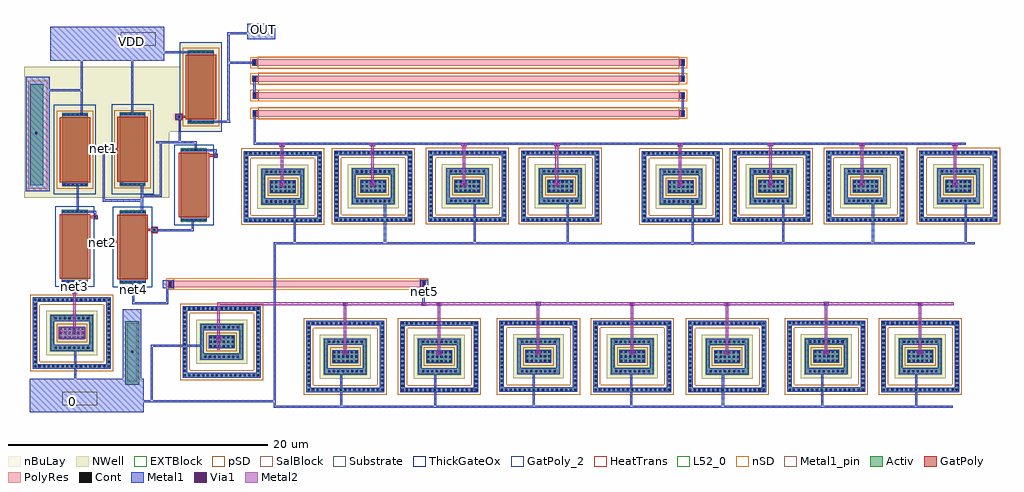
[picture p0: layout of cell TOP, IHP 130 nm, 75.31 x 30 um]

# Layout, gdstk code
from math import pi, radians
import gdstk
lib = gdstk.Library(unit=1e-6, precision=1e-09)
def R(c, l, rs):  # rectangles x0, y0, x1, y1
    for r in rs: c.add(gdstk.rectangle(r[:2], r[2:], *l))
def A(c, l, x, y, w, h, nx, ny, dx, dy):  # array of equal rectangles
    R(c, l, [(x+i*dx, y+j*dy, x+i*dx+w, y+j*dy+h) for i in range(nx) for j in range(ny)])
def P(c, l, *ps):  # polygons
    for p in ps: c.add(gdstk.Polygon(p, *l))
Activ = (1, 0)
GatPoly = (5, 0)
GatPoly_2 = (5, 2)
Cont = (6, 0)
nSD = (7, 0)
Metal1 = (8, 0)
Metal1_pin = (8, 2)
Metal2 = (10, 0)
pSD = (14, 0)
Via1 = (19, 0)
SalBlock = (28, 0)
NWell = (31, 0)
nBuLay = (32, 0)
Substrate = (40, 0)
ThickGateOx = (44, 0)
HeatTrans = (51, 0)
L52_0 = (52, 0)
EXTBlock = (111, 0)
PolyRes = (128, 0)

nmoshv_1 = lib.new_cell('nmosHV$1')
R(nmoshv_1, Activ, [(0,0,0.3,0.3), (0,0,5.68,2), (5.38,0,5.68,0.3)])
R(nmoshv_1, GatPoly, [(0.34,-0.18,5.34,2.18)])
R(nmoshv_1, GatPoly_2, [(0.34,-0.18,5.34,2.18)])
A(nmoshv_1, Cont, 0.07, 0.07, 0.16, 0.16, 1, 6, 0, 0.34)
A(nmoshv_1, Cont, 5.45, 0.07, 0.16, 0.16, 1, 6, 0, 0.34)
R(nmoshv_1, Metal1, [(0.07,0,0.23,2), (5.45,0,5.61,2)])
R(nmoshv_1, Metal1_pin, [(0.07,0,0.23,2), (5.45,0,5.61,2)])
R(nmoshv_1, ThickGateOx, [(-0.27,-0.52,5.95,2.52)])
R(nmoshv_1, HeatTrans, [(0.34,-0.18,5.34,2.18)])
nmoshv_1.add(gdstk.Label('nmosHV', (2.84,1), layer=63, texttype=0))
nmoshv_1.add(gdstk.Label('nmosHV', (2.84,1), layer=51, texttype=0))

pmoshv_1 = lib.new_cell('pmosHV$1')
R(pmoshv_1, Activ, [(0,0,0.3,0.3), (0,0,5.68,2), (5.38,0,5.68,0.3)])
R(pmoshv_1, GatPoly, [(0.34,-0.18,5.34,2.18)])
R(pmoshv_1, GatPoly_2, [(0.34,-0.18,5.34,2.18)])
A(pmoshv_1, Cont, 0.07, 0.07, 0.16, 0.16, 1, 6, 0, 0.34)
A(pmoshv_1, Cont, 5.45, 0.07, 0.16, 0.16, 1, 6, 0, 0.34)
R(pmoshv_1, Metal1, [(0.07,0,0.23,2), (5.45,0,5.61,2)])
R(pmoshv_1, Metal1_pin, [(0.07,0,0.23,2), (5.45,0,5.61,2)])
R(pmoshv_1, pSD, [(-0.18,-0.4,5.86,2.4)])
R(pmoshv_1, NWell, [(-0.62,-0.62,6.3,2.62)])
R(pmoshv_1, Substrate, [(5.38,0,5.68,0.3)])
R(pmoshv_1, ThickGateOx, [(-0.62,-0.62,6.3,2.62)])
R(pmoshv_1, HeatTrans, [(0.34,-0.18,5.34,2.18)])
pmoshv_1.add(gdstk.Label('pmosHV', (2.84,1), layer=63, texttype=0))
pmoshv_1.add(gdstk.Label('pmos', (2.84,1), layer=51, texttype=0))

pnpmpa_3 = lib.new_cell('pnpMPA$3')
R(pnpmpa_3, Activ, [(-0.5,-1,0.5,1)])
P(pnpmpa_3, Activ, [(-1.39,-1.65),(-1.39,1.36),(-0.89,1.36),(-0.89,-1.36),(0.89,-1.36),(0.89,1.36),(-1.39,1.36),(-1.39,1.65),(1.39,1.65),(1.39,-1.65)],
  [(-2.75,-3.01),(-2.75,2.66),(-2.4,2.66),(-2.4,-2.66),(2.4,-2.66),(2.4,2.66),(-2.75,2.66),(-2.75,3.01),(2.75,3.01),(2.75,-3.01)])
A(pnpmpa_3, Cont, -2.315, -2.915, 0.16, 0.16, 3, 2, 0.345, 5.67)
A(pnpmpa_3, Cont, -1.285, -2.915, 0.16, 0.16, 3, 2, 0.345, 5.67)
A(pnpmpa_3, Cont, -0.255, -2.915, 0.16, 0.16, 3, 2, 0.345, 5.67)
A(pnpmpa_3, Cont, 0.775, -2.915, 0.16, 0.16, 3, 2, 0.345, 5.67)
A(pnpmpa_3, Cont, 1.805, -2.915, 0.16, 0.16, 3, 2, 0.345, 5.67)
A(pnpmpa_3, Cont, -2.655, -2.575, 0.16, 0.16, 1, 4, 0, 0.355)
A(pnpmpa_3, Cont, 2.495, -2.575, 0.16, 0.16, 1, 4, 0, 0.355)
A(pnpmpa_3, Cont, -1.22, -1.33, 0.16, 0.16, 1, 3, 0, 0.355)
A(pnpmpa_3, Cont, 1.06, -1.33, 0.16, 0.16, 1, 3, 0, 0.355)
A(pnpmpa_3, Cont, -2.655, -1.15, 0.16, 0.16, 1, 3, 0, 0.355)
A(pnpmpa_3, Cont, 2.495, -1.15, 0.16, 0.16, 1, 3, 0, 0.355)
A(pnpmpa_3, Cont, -0.43, -0.93, 0.16, 0.16, 3, 6, 0.35, 0.34)
A(pnpmpa_3, Cont, -2.655, -0.08, 0.16, 0.16, 1, 4, 0, 0.355)
A(pnpmpa_3, Cont, 2.495, -0.08, 0.16, 0.16, 1, 4, 0, 0.355)
A(pnpmpa_3, Cont, -2.655, 1.345, 0.16, 0.16, 1, 3, 0, 0.355)
A(pnpmpa_3, Cont, 2.495, 1.345, 0.16, 0.16, 1, 3, 0, 0.355)
R(pnpmpa_3, Cont, [(-2.655,-2.915,-2.495,-2.755), (-1.22,-0.26,-1.06,-0.1), (1.06,-0.26,1.22,-0.1), (-1.22,0.095,-1.06,0.255), (1.06,0.095,1.22,0.255), (-1.22,0.455,-1.06,0.615), (1.06,0.455,1.22,0.615), (-1.22,0.81,-1.06,0.97), (1.06,0.81,1.22,0.97), (-1.22,1.17,-1.06,1.33), (1.06,1.17,1.22,1.33), (-2.655,2.415,-2.495,2.575), (2.495,2.415,2.655,2.575), (-2.655,2.755,-2.495,2.915)])
R(pnpmpa_3, Metal1, [(-2.75,-3.01,2.75,-2.66), (-2.75,-3.01,2.75,-2.66), (-2.75,-2.66,-2.4,2.66), (-2.75,-2.66,-2.4,2.66), (2.4,-2.66,2.75,2.66), (2.4,-2.66,2.75,2.66), (-1.37,-1.38,-0.91,1.38), (-1.37,-1.38,-0.91,1.38), (0.91,-1.38,1.37,1.38), (0.91,-1.38,1.37,1.38), (-0.48,-0.98,0.48,0.98), (-0.48,-0.98,0.48,0.98), (-2.75,2.66,2.75,3.01), (-2.75,2.66,2.75,3.01)])
P(pnpmpa_3, Metal1, [(-1.37,-1.63),(-1.37,1.38),(-0.91,1.38),(-0.91,-1.38),(0.91,-1.38),(0.91,1.38),(-1.37,1.38),(-1.37,1.63),(1.37,1.63),(1.37,-1.63)])
R(pnpmpa_3, Metal1_pin, [(-1.37,-1.38,-0.91,1.38), (-0.48,-0.98,0.48,0.98), (-2.75,2.66,2.75,3.01)])
R(pnpmpa_3, pSD, [(-0.71,-1.18,0.71,1.18)])
P(pnpmpa_3, pSD, [(-2.95,-3.21),(-2.95,2.46),(-2.2,2.46),(-2.2,-2.46),(2.2,-2.46),(2.2,2.46),(-2.95,2.46),(-2.95,3.21),(2.95,3.21),(2.95,-3.21)])
R(pnpmpa_3, NWell, [(-1.7,-1.96,1.7,1.96)])
R(pnpmpa_3, nBuLay, [(-1.44,-1.7,1.44,1.7)])
pnpmpa_3.add(gdstk.Label('PLUS', (0,0), layer=63, texttype=0))
pnpmpa_3.add(gdstk.Label('MINUS', (-1.14,0), layer=63, texttype=0))
pnpmpa_3.add(gdstk.Label('pnpMPA', (0,-2.21), layer=63, texttype=0))
pnpmpa_3.add(gdstk.Label('TIE', (0,2.835), layer=63, texttype=0))

pnpmpa = lib.new_cell('pnpMPA')
R(pnpmpa, Activ, [(-0.5,-1,0.5,1)])
P(pnpmpa, Activ, [(-1.39,-1.65),(-1.39,1.36),(-0.89,1.36),(-0.89,-1.36),(0.89,-1.36),(0.89,1.36),(-1.39,1.36),(-1.39,1.65),(1.39,1.65),(1.39,-1.65)],
  [(-2.75,-3.01),(-2.75,2.66),(-2.4,2.66),(-2.4,-2.66),(2.4,-2.66),(2.4,2.66),(-2.75,2.66),(-2.75,3.01),(2.75,3.01),(2.75,-3.01)])
A(pnpmpa, Cont, -2.315, -2.915, 0.16, 0.16, 3, 2, 0.345, 5.67)
A(pnpmpa, Cont, -1.285, -2.915, 0.16, 0.16, 3, 2, 0.345, 5.67)
A(pnpmpa, Cont, -0.255, -2.915, 0.16, 0.16, 3, 2, 0.345, 5.67)
A(pnpmpa, Cont, 0.775, -2.915, 0.16, 0.16, 3, 2, 0.345, 5.67)
A(pnpmpa, Cont, 1.805, -2.915, 0.16, 0.16, 3, 2, 0.345, 5.67)
A(pnpmpa, Cont, -2.655, -2.575, 0.16, 0.16, 1, 4, 0, 0.355)
A(pnpmpa, Cont, 2.495, -2.575, 0.16, 0.16, 1, 4, 0, 0.355)
A(pnpmpa, Cont, -1.22, -1.33, 0.16, 0.16, 1, 3, 0, 0.355)
A(pnpmpa, Cont, 1.06, -1.33, 0.16, 0.16, 1, 3, 0, 0.355)
A(pnpmpa, Cont, -2.655, -1.15, 0.16, 0.16, 1, 3, 0, 0.355)
A(pnpmpa, Cont, 2.495, -1.15, 0.16, 0.16, 1, 3, 0, 0.355)
A(pnpmpa, Cont, -0.43, -0.93, 0.16, 0.16, 3, 6, 0.35, 0.34)
A(pnpmpa, Cont, -2.655, -0.08, 0.16, 0.16, 1, 4, 0, 0.355)
A(pnpmpa, Cont, 2.495, -0.08, 0.16, 0.16, 1, 4, 0, 0.355)
A(pnpmpa, Cont, -2.655, 1.345, 0.16, 0.16, 1, 3, 0, 0.355)
A(pnpmpa, Cont, 2.495, 1.345, 0.16, 0.16, 1, 3, 0, 0.355)
R(pnpmpa, Cont, [(-2.655,-2.915,-2.495,-2.755), (-1.22,-0.26,-1.06,-0.1), (1.06,-0.26,1.22,-0.1), (-1.22,0.095,-1.06,0.255), (1.06,0.095,1.22,0.255), (-1.22,0.455,-1.06,0.615), (1.06,0.455,1.22,0.615), (-1.22,0.81,-1.06,0.97), (1.06,0.81,1.22,0.97), (-1.22,1.17,-1.06,1.33), (1.06,1.17,1.22,1.33), (-2.655,2.415,-2.495,2.575), (2.495,2.415,2.655,2.575), (-2.655,2.755,-2.495,2.915)])
R(pnpmpa, Metal1, [(-2.75,-3.01,2.75,-2.66), (-2.75,-3.01,2.75,-2.66), (-2.75,-2.66,-2.4,2.66), (-2.75,-2.66,-2.4,2.66), (2.4,-2.66,2.75,2.66), (2.4,-2.66,2.75,2.66), (-1.37,-1.38,-0.91,1.38), (-1.37,-1.38,-0.91,1.38), (0.91,-1.38,1.37,1.38), (0.91,-1.38,1.37,1.38), (-0.48,-0.98,0.48,0.98), (-0.48,-0.98,0.48,0.98), (-2.75,2.66,2.75,3.01), (-2.75,2.66,2.75,3.01)])
P(pnpmpa, Metal1, [(-1.37,-1.63),(-1.37,1.38),(-0.91,1.38),(-0.91,-1.38),(0.91,-1.38),(0.91,1.38),(-1.37,1.38),(-1.37,1.63),(1.37,1.63),(1.37,-1.63)])
R(pnpmpa, Metal1_pin, [(-1.37,-1.38,-0.91,1.38), (-0.48,-0.98,0.48,0.98), (-2.75,2.66,2.75,3.01)])
R(pnpmpa, pSD, [(-0.71,-1.18,0.71,1.18)])
P(pnpmpa, pSD, [(-2.95,-3.21),(-2.95,2.46),(-2.2,2.46),(-2.2,-2.46),(2.2,-2.46),(2.2,2.46),(-2.95,2.46),(-2.95,3.21),(2.95,3.21),(2.95,-3.21)])
R(pnpmpa, NWell, [(-1.7,-1.96,1.7,1.96)])
R(pnpmpa, nBuLay, [(-1.44,-1.7,1.44,1.7)])
pnpmpa.add(gdstk.Label('PLUS', (0,0), layer=63, texttype=0))
pnpmpa.add(gdstk.Label('MINUS', (-1.14,0), layer=63, texttype=0))
pnpmpa.add(gdstk.Label('pnpMPA', (0,-2.21), layer=63, texttype=0))
pnpmpa.add(gdstk.Label('TIE', (0,2.835), layer=63, texttype=0))

rhigh_3 = lib.new_cell('rhigh$3')
R(rhigh_3, GatPoly, [(0,-0.43,0.5,0), (0,32.5,0.5,32.93)])
R(rhigh_3, Cont, [(0.07,-0.36,0.43,-0.2), (0.07,32.7,0.43,32.86)])
R(rhigh_3, nSD, [(-0.18,-0.61,0.68,0.18), (-0.18,0,0.68,32.5), (-0.18,0,0.68,32.5), (-0.18,32.32,0.68,33.11)])
R(rhigh_3, Metal1, [(0.02,-0.41,0.48,-0.15), (0.02,32.65,0.48,32.91)])
R(rhigh_3, Metal1_pin, [(0.02,-0.41,0.48,-0.15), (0.02,32.65,0.48,32.91)])
R(rhigh_3, pSD, [(-0.18,-0.61,0.68,0.18), (-0.18,0,0.68,32.5), (-0.18,0,0.68,32.5), (-0.18,32.32,0.68,33.11)])
R(rhigh_3, SalBlock, [(-0.2,0,0.7,32.5)])
R(rhigh_3, L52_0, [(0,0,0.5,32.5)])
R(rhigh_3, EXTBlock, [(-0.18,-0.61,0.68,0.18), (-0.2,0,0.7,32.5), (-0.18,32.32,0.68,33.11)])
R(rhigh_3, PolyRes, [(0,0,0.5,32.5)])
rhigh_3.add(gdstk.Label('rhigh r=96406.957', (0.25,16.25), layer=63, texttype=0))
rhigh_3.add(gdstk.Label('rhigh', (0.25,16.25), layer=52, texttype=0))

rhigh_2 = lib.new_cell('rhigh$2')
R(rhigh_2, GatPoly, [(0,-0.43,0.5,0), (0,19,0.5,19.43)])
R(rhigh_2, Cont, [(0.07,-0.36,0.43,-0.2), (0.07,19.2,0.43,19.36)])
R(rhigh_2, nSD, [(-0.18,-0.61,0.68,0.18), (-0.18,0,0.68,19), (-0.18,0,0.68,19), (-0.18,18.82,0.68,19.61)])
R(rhigh_2, Metal1, [(0.02,-0.41,0.48,-0.15), (0.02,19.15,0.48,19.41)])
R(rhigh_2, Metal1_pin, [(0.02,-0.41,0.48,-0.15), (0.02,19.15,0.48,19.41)])
R(rhigh_2, pSD, [(-0.18,-0.61,0.68,0.18), (-0.18,0,0.68,19), (-0.18,0,0.68,19), (-0.18,18.82,0.68,19.61)])
R(rhigh_2, SalBlock, [(-0.2,0,0.7,19)])
R(rhigh_2, L52_0, [(0,0,0.5,19)])
R(rhigh_2, EXTBlock, [(-0.18,-0.61,0.68,0.18), (-0.2,0,0.7,19), (-0.18,18.82,0.68,19.61)])
R(rhigh_2, PolyRes, [(0,0,0.5,19)])
rhigh_2.add(gdstk.Label('rhigh r=56493.913', (0.25,9.5), layer=63, texttype=0))
rhigh_2.add(gdstk.Label('rhigh', (0.25,9.5), layer=52, texttype=0))

top = lib.new_cell('TOP')
R(top, Activ, [(2.69,-18.825,3.76,-13.95), (-4.615,-3.43,-3.64,4.34)])
R(top, GatPoly, [(0.185,-8,0.535,-7.665), (1.495,-7.99,1.845,-7.655), (4.7,-7.13,5.2,-6.63), (0.21,-6.075,0.56,-5.74), (9.5,-1.325,9.85,-0.99), (0.22,-0.92,0.785,-0.42), (1.33,-0.9,1.895,-0.4), (6.565,1.59,7.13,2.09)])
R(top, Cont, [(3.15,-16.35,3.31,-16.19), (1.635,-7.86,1.71,-7.78), (0.33,-7.845,0.405,-7.765), (4.87,-6.94,5.03,-6.78), (0.355,-5.92,0.43,-5.84), (9.645,-1.17,9.72,-1.09), (0.41,-0.74,0.57,-0.58), (1.52,-0.72,1.68,-0.56), (-4.25,0.515,-4.09,0.675), (6.755,1.77,6.915,1.93)])
R(top, nSD, [(-4.795,-3.715,-3.335,4.635)])
R(top, Metal1, [(-4.685,-20.965,4.13,-18.365), (2.495,-19.17,3.95,-13.02), (26.715,-16.5,27.12,-16.215), (48.93,-16.495,49.335,-16.21), (19.465,-16.49,19.87,-16.205), (41.615,-16.485,42.02,-16.2), (63.83,-16.48,64.235,-16.195), (34.365,-16.475,34.77,-16.19), (56.58,-16.47,56.985,-16.185), (9.715,-15.41,10.12,-15.125), (-1.405,-14.88,-1,-14.595), (26.725,-12.755,27.13,-12.47), (48.94,-12.75,49.345,-12.465), (19.475,-12.745,19.88,-12.46), (41.625,-12.74,42.03,-12.455), (25.535,-12.735,25.94,-12.45), (63.84,-12.735,64.245,-12.45), (34.375,-12.73,34.78,-12.445), (56.59,-12.725,56.995,-12.44), (-1.405,-11.81,-1,-11.525), (25.455,-11.485,26.065,-10.725), (5.58,-11.37,6.43,-10.76), (0.23,-7.965,0.505,-7.7), (1.53,-7.95,1.805,-7.685), (4.75,-7.07,5.15,-6.675), (0.255,-6.04,0.53,-5.775), (-4.98,-3.895,-3.14,4.92), (14.605,-3.545,15.01,-3.26), (45.325,-3.545,45.73,-3.26), (28.64,-3.52,29.045,-3.235), (28.64,-3.52,29.045,-3.235), (35.81,-3.52,36.215,-3.235), (35.81,-3.52,36.215,-3.235), (59.36,-3.52,59.765,-3.235), (59.36,-3.52,59.765,-3.235), (66.53,-3.52,66.935,-3.235), (66.53,-3.52,66.935,-3.235), (21.58,-3.51,21.985,-3.225), (52.3,-3.51,52.705,-3.225), (9.545,-1.29,9.82,-1.025), (0.26,-0.865,0.76,-0.46), (1.37,-0.845,1.87,-0.44), (14.6,-0.46,15.005,-0.175), (45.32,-0.46,45.725,-0.175), (28.635,-0.435,29.04,-0.15), (28.635,-0.435,29.04,-0.15), (35.805,-0.435,36.21,-0.15), (35.805,-0.435,36.21,-0.15), (59.355,-0.435,59.76,-0.15), (59.355,-0.435,59.76,-0.15), (66.525,-0.435,66.93,-0.15), (66.525,-0.435,66.93,-0.15), (21.575,-0.425,21.98,-0.14), (52.295,-0.425,52.7,-0.14), (6.605,1.645,7.105,2.05), (-3.095,6.185,5.72,8.785), (12.12,7.84,14.28,9.035)])
R(top, Metal1_pin, [(-2.165,-20.4,0.55,-19.365), (2.35,7.34,5.065,8.375), (12.45,8.18,13.67,8.895)])
R(top, Metal2, [(26.715,-16.5,27.12,-16.215), (48.93,-16.495,49.335,-16.21), (19.465,-16.49,19.87,-16.205), (41.615,-16.485,42.02,-16.2), (63.83,-16.48,64.235,-16.195), (34.365,-16.475,34.77,-16.19), (56.58,-16.47,56.985,-16.185), (9.715,-15.41,10.12,-15.125), (-2.465,-15.29,-0.345,-14.4), (-1.405,-14.88,-1,-14.595), (26.725,-12.755,27.13,-12.47), (48.94,-12.75,49.345,-12.465), (19.475,-12.745,19.88,-12.46), (41.625,-12.74,42.03,-12.455), (25.535,-12.735,25.94,-12.45), (63.84,-12.735,64.245,-12.45), (34.375,-12.73,34.78,-12.445), (56.59,-12.725,56.995,-12.44), (-1.405,-11.81,-1,-11.525), (14.605,-3.545,15.01,-3.26), (45.325,-3.545,45.73,-3.26), (28.64,-3.52,29.045,-3.235), (28.64,-3.52,29.045,-3.235), (35.81,-3.52,36.215,-3.235), (35.81,-3.52,36.215,-3.235), (59.36,-3.52,59.765,-3.235), (59.36,-3.52,59.765,-3.235), (66.53,-3.52,66.935,-3.235), (66.53,-3.52,66.935,-3.235), (21.58,-3.51,21.985,-3.225), (52.3,-3.51,52.705,-3.225), (14.6,-0.46,15.005,-0.175), (45.32,-0.46,45.725,-0.175), (28.635,-0.435,29.04,-0.15), (28.635,-0.435,29.04,-0.15), (35.805,-0.435,36.21,-0.15), (35.805,-0.435,36.21,-0.15), (59.355,-0.435,59.76,-0.15), (59.355,-0.435,59.76,-0.15), (66.525,-0.435,66.93,-0.15), (66.525,-0.435,66.93,-0.15), (21.575,-0.425,21.98,-0.14), (52.295,-0.425,52.7,-0.14)])
P(top, Metal2, [(-2.465,-14.4),(-2.465,-14.4),(-2.465,-14.4),(-2.465,-14.4)])
R(top, pSD, [(2.84,-18.56,3.63,-14.07)])
R(top, Via1, [(26.81,-16.44,27,-16.25), (49.025,-16.435,49.215,-16.245), (19.56,-16.43,19.75,-16.24), (41.71,-16.425,41.9,-16.235), (63.925,-16.42,64.115,-16.23), (34.46,-16.415,34.65,-16.225), (56.675,-16.41,56.865,-16.22), (9.81,-15.35,10,-15.16), (-1.31,-14.82,-1.12,-14.63), (26.82,-12.695,27.01,-12.505), (49.035,-12.69,49.225,-12.5), (19.57,-12.685,19.76,-12.495), (41.72,-12.68,41.91,-12.49), (25.63,-12.675,25.82,-12.485), (63.935,-12.675,64.125,-12.485), (34.47,-12.67,34.66,-12.48), (56.685,-12.665,56.875,-12.475), (-1.31,-11.75,-1.12,-11.56), (14.7,-3.485,14.89,-3.295), (45.42,-3.485,45.61,-3.295), (28.735,-3.46,28.925,-3.27), (28.735,-3.46,28.925,-3.27), (35.905,-3.46,36.095,-3.27), (35.905,-3.46,36.095,-3.27), (59.455,-3.46,59.645,-3.27), (59.455,-3.46,59.645,-3.27), (66.625,-3.46,66.815,-3.27), (66.625,-3.46,66.815,-3.27), (21.675,-3.45,21.865,-3.26), (52.395,-3.45,52.585,-3.26), (14.695,-0.4,14.885,-0.21), (45.415,-0.4,45.605,-0.21), (28.73,-0.375,28.92,-0.185), (28.73,-0.375,28.92,-0.185), (35.9,-0.375,36.09,-0.185), (35.9,-0.375,36.09,-0.185), (59.45,-0.375,59.64,-0.185), (59.45,-0.375,59.64,-0.185), (66.62,-0.375,66.81,-0.185), (66.62,-0.375,66.81,-0.185), (21.67,-0.365,21.86,-0.175), (52.39,-0.365,52.58,-0.175)])
R(top, NWell, [(-5.115,-4.385,6.1,5.725), (5.39,0.68,7.185,5.725)])
top.add(gdstk.FlexPath([(7.415,1.835),(7.07,1.835)], 0.16, ends="flush", simple_path=True, layer=5, datatype=0))  # GatPoly
top.add(gdstk.FlexPath([(9.165,-1.14),(9.56,-1.14)], 0.16, ends="flush", simple_path=True, layer=5, datatype=0))  # GatPoly
top.add(gdstk.FlexPath([(-0.155,-0.65),(0.365,-0.65)], 0.16, ends="flush", simple_path=True, layer=5, datatype=0))  # GatPoly
top.add(gdstk.FlexPath([(2.18,-0.645),(1.685,-0.645)], 0.16, ends="flush", simple_path=True, layer=5, datatype=0))  # GatPoly
top.add(gdstk.FlexPath([(-0.195,-7.83),(0.325,-7.83)], 0.16, ends="flush", simple_path=True, layer=5, datatype=0))  # GatPoly
top.add(gdstk.FlexPath([(-0.125,-5.89),(0.27,-5.89)], 0.16, ends="flush", simple_path=True, layer=5, datatype=0))  # GatPoly
top.add(gdstk.FlexPath([(4.22,-6.88),(4.87,-6.88),(4.87,-6.94)], 0.16, ends="flush", simple_path=True, layer=5, datatype=0))  # GatPoly
top.add(gdstk.FlexPath([(2.23,-7.795),(1.735,-7.795)], 0.16, ends="flush", simple_path=True, layer=5, datatype=0))  # GatPoly
top.add(gdstk.FlexPath([(25.715,-12.685),(25.715,-10.98)], 0.16, ends="flush", simple_path=True, layer=8, datatype=0))  # Metal1
top.add(gdstk.FlexPath([(5.5,-12.535),(5.955,-12.535),(5.955,-11.125)], 0.16, ends="flush", simple_path=True, layer=8, datatype=0))  # Metal1
top.add(gdstk.FlexPath([(51.565,-0.22),(67.545,-0.22)], 0.16, ends="flush", simple_path=True, layer=8, datatype=0))  # Metal1
top.add(gdstk.FlexPath([(10.585,6.015),(12.705,6.015)], 0.16, ends="flush", simple_path=True, layer=8, datatype=0))  # Metal1
top.add(gdstk.FlexPath([(45.72,6.07),(45.72,4.66)], 0.16, ends="flush", simple_path=True, layer=8, datatype=0))  # Metal1
top.add(gdstk.FlexPath([(45.735,2.085),(45.735,3.5)], 0.16, ends="flush", simple_path=True, layer=8, datatype=0))  # Metal1
top.add(gdstk.FlexPath([(12.67,3.5),(12.67,4.8)], 0.16, ends="flush", simple_path=True, layer=8, datatype=0))  # Metal1
top.add(gdstk.FlexPath([(14.245,-7.92),(68.245,-7.92)], 0.16, ends="flush", simple_path=True, layer=8, datatype=0))  # Metal1
top.add(gdstk.FlexPath([(13.565,-0.22),(12.675,-0.22),(12.675,2.075)], 0.16, ends="flush", simple_path=True, layer=8, datatype=0))  # Metal1
top.add(gdstk.FlexPath([(19.35,-17.565),(19.35,-20.605)], 0.16, ends="flush", simple_path=True, layer=8, datatype=0))  # Metal1
top.add(gdstk.FlexPath([(63.725,-20.605),(63.725,-17.555)], 0.16, ends="flush", simple_path=True, layer=8, datatype=0))  # Metal1
top.add(gdstk.FlexPath([(56.47,-20.605),(56.47,-17.545)], 0.16, ends="flush", simple_path=True, layer=8, datatype=0))  # Metal1
top.add(gdstk.FlexPath([(48.825,-20.605),(48.825,-17.57)], 0.16, ends="flush", simple_path=True, layer=8, datatype=0))  # Metal1
top.add(gdstk.FlexPath([(41.745,-20.605),(41.745,-17.56)], 0.16, ends="flush", simple_path=True, layer=8, datatype=0))  # Metal1
top.add(gdstk.FlexPath([(34.235,-20.605),(34.235,-17.55)], 0.16, ends="flush", simple_path=True, layer=8, datatype=0))  # Metal1
top.add(gdstk.FlexPath([(26.62,-20.605),(26.62,-17.575)], 0.16, ends="flush", simple_path=True, layer=8, datatype=0))  # Metal1
top.add(gdstk.FlexPath([(36.85,-7.995),(36.85,-4.57)], 0.16, ends="flush", simple_path=True, layer=8, datatype=0))  # Metal1
top.add(gdstk.FlexPath([(15.78,-8),(15.78,-4.62)], 0.16, ends="flush", simple_path=True, layer=8, datatype=0))  # Metal1
top.add(gdstk.FlexPath([(20.78,-0.22),(41.585,-0.22)], 0.16, ends="flush", simple_path=True, layer=8, datatype=0))  # Metal1
top.add(gdstk.FlexPath([(67.57,-7.995),(67.57,-4.57)], 0.16, ends="flush", simple_path=True, layer=8, datatype=0))  # Metal1
top.add(gdstk.FlexPath([(46.485,-8.03),(46.485,-4.65)], 0.16, ends="flush", simple_path=True, layer=8, datatype=0))  # Metal1
top.add(gdstk.FlexPath([(3.95,-20.105),(14.325,-20.105)], 0.16, ends="flush", simple_path=True, layer=8, datatype=0))  # Metal1
top.add(gdstk.FlexPath([(14.245,-20.22),(14.245,-7.915),(14.25,-7.915),(14.25,-7.835)], 0.16, ends="flush", simple_path=True, layer=8, datatype=0))  # Metal1
top.add(gdstk.FlexPath([(22.74,-7.995),(22.74,-4.615)], 0.16, ends="flush", simple_path=True, layer=8, datatype=0))  # Metal1
top.add(gdstk.FlexPath([(29.68,-7.995),(29.68,-4.57)], 0.16, ends="flush", simple_path=True, layer=8, datatype=0))  # Metal1
top.add(gdstk.FlexPath([(53.46,-7.995),(53.46,-4.615)], 0.16, ends="flush", simple_path=True, layer=8, datatype=0))  # Metal1
top.add(gdstk.FlexPath([(60.4,-7.995),(60.4,-4.57)], 0.16, ends="flush", simple_path=True, layer=8, datatype=0))  # Metal1
top.add(gdstk.FlexPath([(44.05,-0.22),(51.74,-0.22)], 0.16, ends="flush", simple_path=True, layer=8, datatype=0))  # Metal1
top.add(gdstk.FlexPath([(44.28,-0.22),(41.41,-0.22)], 0.16, ends="flush", simple_path=True, layer=8, datatype=0))  # Metal1
top.add(gdstk.FlexPath([(19.79,-20.525),(66.545,-20.525)], 0.16, ends="flush", simple_path=True, layer=8, datatype=0))  # Metal1
top.add(gdstk.FlexPath([(13.33,-0.22),(21.02,-0.22)], 0.16, ends="flush", simple_path=True, layer=8, datatype=0))  # Metal1
top.add(gdstk.FlexPath([(4.75,-18.845),(4.75,-20.14)], 0.16, ends="flush", simple_path=True, layer=8, datatype=0))  # Metal1
top.add(gdstk.FlexPath([(20.19,-20.525),(14.245,-20.525),(14.245,-20.055)], 0.16, ends="flush", simple_path=True, layer=8, datatype=0))  # Metal1
top.add(gdstk.FlexPath([(8.68,-15.815),(4.75,-15.815),(4.75,-19.005)], 0.16, ends="flush", simple_path=True, layer=8, datatype=0))  # Metal1
top.add(gdstk.FlexPath([(3.31,-10.865),(3.31,-12.535),(5.68,-12.535)], 0.16, ends="flush", simple_path=True, layer=8, datatype=0))  # Metal1
top.add(gdstk.FlexPath([(10.665,1.45),(10.665,8.295),(12.605,8.295)], 0.16, ends="flush", simple_path=True, layer=8, datatype=0))  # Metal1
top.add(gdstk.FlexPath([(-1.17,-15.765),(-1.17,-18.85)], 0.16, ends="flush", simple_path=True, layer=8, datatype=0))  # Metal1
top.add(gdstk.FlexPath([(-1.215,-11.81),(-1.215,-10.775)], 0.16, ends="flush", simple_path=True, layer=8, datatype=0))  # Metal1
top.add(gdstk.FlexPath([(6.89,1.83),(6.89,-0.165)], 0.16, ends="flush", simple_path=True, layer=8, datatype=0))  # Metal1
top.add(gdstk.FlexPath([(9.325,1.45),(10.79,1.45)], 0.16, ends="flush", simple_path=True, layer=8, datatype=0))  # Metal1
top.add(gdstk.FlexPath([(7.285,-0.125),(5.075,-0.125)], 0.16, ends="flush", simple_path=True, layer=8, datatype=0))  # Metal1
top.add(gdstk.FlexPath([(7.61,6.83),(5.59,6.83)], 0.16, ends="flush", simple_path=True, layer=8, datatype=0))  # Metal1
top.add(gdstk.FlexPath([(9.685,-1.215),(9.685,-0.725),(8.935,-0.725),(8.935,-0.725)], 0.16, ends="flush", simple_path=True, layer=8, datatype=0))  # Metal1
top.add(gdstk.FlexPath([(5.03,-6.905),(7.9,-6.905),(7.9,-6.105)], 0.16, ends="flush", simple_path=True, layer=8, datatype=0))  # Metal1
top.add(gdstk.FlexPath([(7.145,-0.125),(8.15,-0.125),(8.15,-0.805)], 0.16, ends="flush", simple_path=True, layer=8, datatype=0))  # Metal1
top.add(gdstk.FlexPath([(-4.01,3.88),(-0.645,3.88)], 0.16, ends="flush", simple_path=True, layer=8, datatype=0))  # Metal1
top.add(gdstk.FlexPath([(1.04,-0.565),(1.04,-4.615),(3.99,-4.615)], 0.16, ends="flush", simple_path=True, layer=8, datatype=0))  # Metal1
top.add(gdstk.FlexPath([(5.44,-0.13),(5.44,-4.24),(3.99,-4.24)], 0.16, ends="flush", simple_path=True, layer=8, datatype=0))  # Metal1
top.add(gdstk.FlexPath([(0.36,-0.645),(1.755,-0.645)], 0.16, ends="flush", simple_path=True, layer=8, datatype=0))  # Metal1
top.add(gdstk.FlexPath([(-0.645,2.035),(-0.645,6.54)], 0.16, ends="flush", simple_path=True, layer=8, datatype=0))  # Metal1
top.add(gdstk.FlexPath([(3.225,2.015),(3.225,6.66)], 0.16, ends="flush", simple_path=True, layer=8, datatype=0))  # Metal1
top.add(gdstk.FlexPath([(-0.955,-5.505),(-0.955,-3.3)], 0.16, ends="flush", simple_path=True, layer=8, datatype=0))  # Metal1
top.add(gdstk.FlexPath([(3.99,-5.495),(3.99,-3.38)], 0.16, ends="flush", simple_path=True, layer=8, datatype=0))  # Metal1
top.add(gdstk.FlexPath([(0.395,-5.965),(0.395,-5.475),(-0.355,-5.475),(-0.355,-5.475)], 0.16, ends="flush", simple_path=True, layer=8, datatype=0))  # Metal1
top.add(gdstk.FlexPath([(0.355,-7.845),(1.75,-7.845)], 0.16, ends="flush", simple_path=True, layer=8, datatype=0))  # Metal1
top.add(gdstk.FlexPath([(9.89,-16.13),(9.89,-12.495)], 0.2, ends="flush", simple_path=True, layer=10, datatype=0))  # Metal2
top.add(gdstk.FlexPath([(35.995,-3.46),(35.995,-0.185)], 0.2, ends="flush", simple_path=True, layer=10, datatype=0))  # Metal2
top.add(gdstk.FlexPath([(35.995,-3.46),(35.995,-0.185)], 0.2, ends="flush", simple_path=True, layer=10, datatype=0))  # Metal2
top.add(gdstk.FlexPath([(14.79,-3.485),(14.79,-0.21)], 0.2, ends="flush", simple_path=True, layer=10, datatype=0))  # Metal2
top.add(gdstk.FlexPath([(66.715,-3.46),(66.715,-0.185)], 0.2, ends="flush", simple_path=True, layer=10, datatype=0))  # Metal2
top.add(gdstk.FlexPath([(66.715,-3.46),(66.715,-0.185)], 0.2, ends="flush", simple_path=True, layer=10, datatype=0))  # Metal2
top.add(gdstk.FlexPath([(45.51,-3.485),(45.51,-0.21)], 0.2, ends="flush", simple_path=True, layer=10, datatype=0))  # Metal2
top.add(gdstk.FlexPath([(59.545,-3.46),(59.545,-0.185)], 0.2, ends="flush", simple_path=True, layer=10, datatype=0))  # Metal2
top.add(gdstk.FlexPath([(28.825,-3.46),(28.825,-0.185)], 0.2, ends="flush", simple_path=True, layer=10, datatype=0))  # Metal2
top.add(gdstk.FlexPath([(28.825,-3.46),(28.825,-0.185)], 0.2, ends="flush", simple_path=True, layer=10, datatype=0))  # Metal2
top.add(gdstk.FlexPath([(21.765,-3.45),(21.765,-0.175)], 0.2, ends="flush", simple_path=True, layer=10, datatype=0))  # Metal2
top.add(gdstk.FlexPath([(59.545,-3.46),(59.545,-0.185)], 0.2, ends="flush", simple_path=True, layer=10, datatype=0))  # Metal2
top.add(gdstk.FlexPath([(52.485,-3.45),(52.485,-0.175)], 0.2, ends="flush", simple_path=True, layer=10, datatype=0))  # Metal2
top.add(gdstk.FlexPath([(19.66,-16.43),(19.66,-12.495)], 0.2, ends="flush", simple_path=True, layer=10, datatype=0))  # Metal2
top.add(gdstk.FlexPath([(19.88,-12.585),(9.78,-12.585)], 0.2, ends="flush", simple_path=True, layer=10, datatype=0))  # Metal2
top.add(gdstk.FlexPath([(19.025,-12.585),(66.63,-12.585)], 0.2, ends="flush", simple_path=True, layer=10, datatype=0))  # Metal2
top.add(gdstk.FlexPath([(26.91,-16.44),(26.91,-12.505)], 0.2, ends="flush", simple_path=True, layer=10, datatype=0))  # Metal2
top.add(gdstk.FlexPath([(34.56,-16.415),(34.56,-12.48)], 0.2, ends="flush", simple_path=True, layer=10, datatype=0))  # Metal2
top.add(gdstk.FlexPath([(41.81,-16.425),(41.81,-12.49)], 0.2, ends="flush", simple_path=True, layer=10, datatype=0))  # Metal2
top.add(gdstk.FlexPath([(49.125,-16.435),(49.125,-12.5)], 0.2, ends="flush", simple_path=True, layer=10, datatype=0))  # Metal2
top.add(gdstk.FlexPath([(56.775,-16.41),(56.775,-12.475)], 0.2, ends="flush", simple_path=True, layer=10, datatype=0))  # Metal2
top.add(gdstk.FlexPath([(64.025,-16.42),(64.025,-12.485)], 0.2, ends="flush", simple_path=True, layer=10, datatype=0))  # Metal2
top.add(gdstk.FlexPath([(-1.215,-14.815),(-1.215,-11.555)], 0.2, ends="flush", simple_path=True, layer=10, datatype=0))  # Metal2
top.add(gdstk.Reference(nmoshv_1, (-2.195,-5.325), rotation=3*pi/2))
top.add(gdstk.Reference(pmoshv_1, (2.26,2.18), rotation=3*pi/2))
top.add(gdstk.Reference(pmoshv_1, (-2.18,2.15), rotation=3*pi/2))
top.add(gdstk.Reference(nmoshv_1, (6.99,-0.575), rotation=3*pi/2))
top.add(gdstk.Reference(pnpmpa_3, (-1.425,-14.84), rotation=3*pi/2))
top.add(gdstk.Reference(pnpmpa, (10.135,-15.525), rotation=3*pi/2))
top.add(gdstk.Reference(pmoshv_1, (7.54,6.98), rotation=3*pi/2))
top.add(gdstk.Reference(rhigh_3, (12.94,6.27), rotation=3*pi/2))
top.add(gdstk.Reference(pnpmpa, (21.835,-3.515), rotation=3*pi/2))
top.add(gdstk.Reference(pnpmpa, (14.86,-3.55), rotation=3*pi/2))
top.add(gdstk.Reference(pnpmpa, (36.27,-3.51), rotation=3*pi/2))
top.add(gdstk.Reference(pnpmpa, (52.555,-3.515), rotation=3*pi/2))
top.add(gdstk.Reference(pnpmpa, (45.58,-3.55), rotation=3*pi/2))
top.add(gdstk.Reference(pnpmpa, (66.99,-3.51), rotation=3*pi/2))
top.add(gdstk.Reference(pnpmpa, (59.82,-3.51), rotation=3*pi/2))
top.add(gdstk.Reference(pnpmpa, (29.1,-3.51), rotation=3*pi/2))
top.add(gdstk.Reference(pnpmpa, (19.68,-16.655), rotation=3*pi/2))
top.add(gdstk.Reference(pnpmpa, (26.93,-16.665), rotation=3*pi/2))
top.add(gdstk.Reference(pnpmpa, (34.58,-16.64), rotation=3*pi/2))
top.add(gdstk.Reference(pnpmpa, (41.83,-16.65), rotation=3*pi/2))
top.add(gdstk.Reference(pnpmpa, (49.145,-16.66), rotation=3*pi/2))
top.add(gdstk.Reference(pnpmpa, (56.795,-16.635), rotation=3*pi/2))
top.add(gdstk.Reference(pnpmpa, (64.045,-16.645), rotation=3*pi/2))
top.add(gdstk.Reference(nmoshv_1, (2.27,-5.355), rotation=3*pi/2))
top.add(gdstk.Reference(rhigh_3, (12.945,5.03), rotation=3*pi/2))
top.add(gdstk.Reference(rhigh_3, (12.95,3.74), rotation=3*pi/2))
top.add(gdstk.Reference(rhigh_2, (6.455,-10.81), rotation=3*pi/2))
top.add(gdstk.Reference(rhigh_3, (12.96,2.365), rotation=3*pi/2))
top.add(gdstk.Label('net4', (3.355,-11.51), layer=63, texttype=0))
top.add(gdstk.Label('net5', (25.78,-11.675), layer=8, texttype=0))
top.add(gdstk.Label('net4', (3.39,-11.93), layer=8, texttype=0))
top.add(gdstk.Label('net3', (-1.195,-11.275), layer=8, texttype=0))
top.add(gdstk.Label('net2', (0.945,-7.855), layer=8, texttype=0))
top.add(gdstk.Label('net1', (1.04,-0.59), layer=8, texttype=0))
top.add(gdstk.Label('OUT', (13.33,8.55), layer=8, texttype=25))
top.add(gdstk.Label('0', (-1.35,-20.095), layer=8, texttype=25))
top.add(gdstk.Label('VDD', (3.165,7.645), layer=8, texttype=25))

lib.write_gds('TOP.gds')
